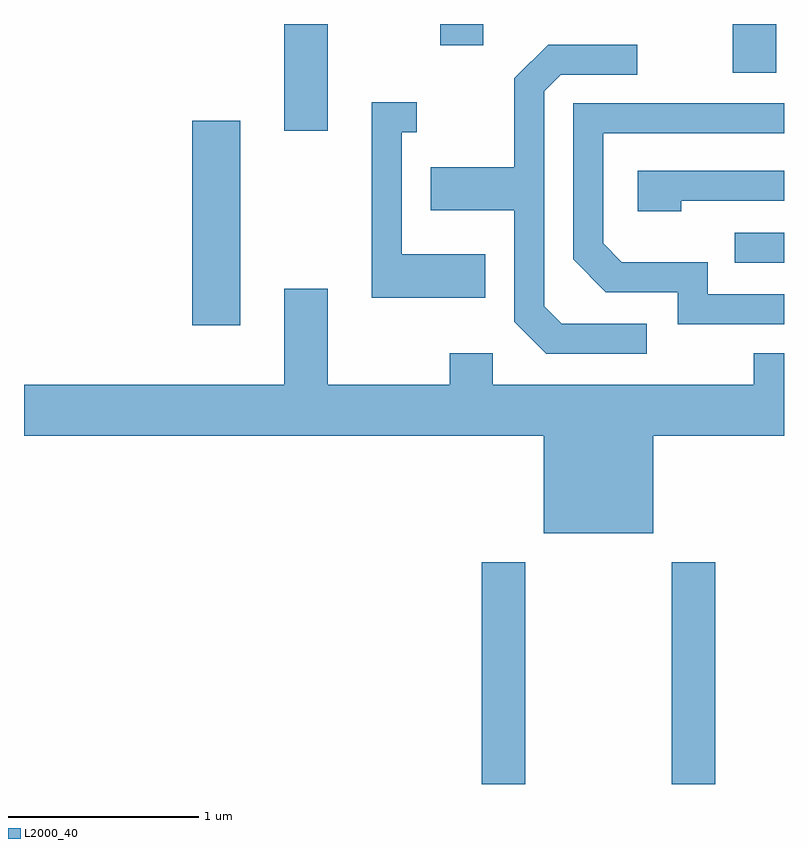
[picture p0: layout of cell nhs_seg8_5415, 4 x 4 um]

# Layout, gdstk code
import gdstk
lib = gdstk.Library(unit=1e-6, precision=1e-09)
def R(c, l, rs):  # rectangles x0, y0, x1, y1
    for r in rs: c.add(gdstk.rectangle(r[:2], r[2:], *l))
def P(c, l, *ps):  # polygons
    for p in ps: c.add(gdstk.Polygon(p, *l))
L2000_40 = (2000, 40)

nhs_seg8_5415 = lib.new_cell('nhs_seg8_5415')
R(nhs_seg8_5415, L2000_40, [(350.021,1852.342,350.249,1853.509), (351.021,1852.342,351.249,1853.509), (348.496,1854.756,348.749,1855.834), (351.353,1855.086,351.611,1855.244), (348.981,1855.781,349.209,1856.342), (351.341,1856.086,351.569,1856.342), (349.801,1856.231,350.029,1856.342)])
P(nhs_seg8_5415, L2000_40, [(350.888,1854.764),(350.442,1854.764),(350.349,1854.857),(350.349,1855.989),(350.437,1856.076),(350.838,1856.076),(350.838,1856.234),(350.369,1856.234),(350.191,1856.057),(350.191,1855.589),(349.751,1855.589),(349.751,1855.361),(350.191,1855.361),(350.191,1854.774),(350.359,1854.606),(350.888,1854.606)],
  [(350.039,1855.129),(349.599,1855.129),(349.599,1855.771),(349.678,1855.771),(349.678,1855.929),(349.441,1855.929),(349.441,1854.901),(350.039,1854.901)],
  [(351.611,1854.919),(351.209,1854.919),(351.209,1855.089),(350.757,1855.089),(350.659,1855.187),(350.659,1855.766),(351.611,1855.766),(351.611,1855.924),(350.501,1855.924),(350.501,1855.104),(350.674,1854.931),(351.051,1854.931),(351.051,1854.761),(351.611,1854.761)],
  [(351.069,1855.411),(351.611,1855.411),(351.611,1855.569),(350.841,1855.569),(350.841,1855.356),(351.069,1855.356)],
  [(350.924,1854.176),(351.611,1854.176),(351.611,1854.609),(351.451,1854.609),(351.451,1854.444),(350.079,1854.444),(350.079,1854.609),(349.851,1854.609),(349.851,1854.444),(349.209,1854.444),(349.209,1854.949),(348.981,1854.949),(348.981,1854.444),(347.611,1854.444),(347.611,1854.176),(350.346,1854.176),(350.346,1853.661),(350.924,1853.661)])

lib.write_gds('nhs_seg8_5415.gds')
